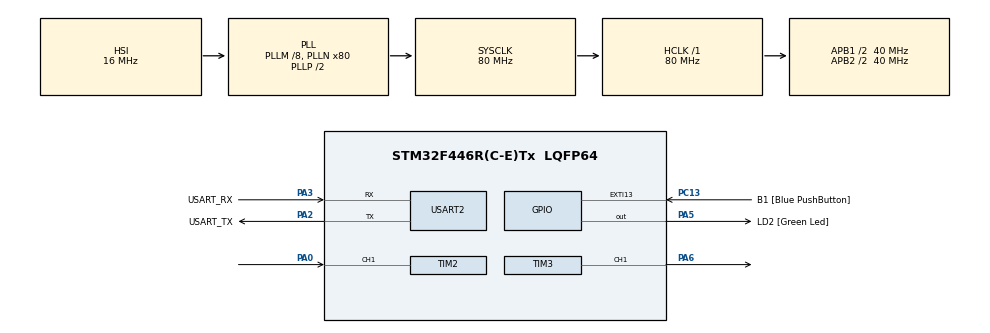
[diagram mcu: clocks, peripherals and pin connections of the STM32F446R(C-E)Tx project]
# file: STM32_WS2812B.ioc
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Dma.Request0=USART2_RX
Dma.Request1=USART2_TX
Dma.Request2=TIM3_CH1/TRIG
Dma.TIM3_CH1/TRIG.2.Direction=DMA_MEMORY_TO_PERIPH
Dma.TIM3_CH1/TRIG.2.FIFOMode=DMA_FIFOMODE_DISABLE
Dma.TIM3_CH1/TRIG.2.Instance=DMA1_Stream4
Dma.TIM3_CH1/TRIG.2.MemDataAlignment=DMA_MDATAALIGN_HALFWORD
Dma.TIM3_CH1/TRIG.2.MemInc=DMA_MINC_ENABLE
Dma.TIM3_CH1/TRIG.2.Mode=DMA_NORMAL
Dma.TIM3_CH1/TRIG.2.PeriphDataAlignment=DMA_PDATAALIGN_HALFWORD
Dma.TIM3_CH1/TRIG.2.PeriphInc=DMA_PINC_DISABLE
Dma.TIM3_CH1/TRIG.2.Priority=DMA_PRIORITY_LOW
Dma.USART2_RX.0.Direction=DMA_PERIPH_TO_MEMORY
Dma.USART2_RX.0.FIFOMode=DMA_FIFOMODE_DISABLE
Dma.USART2_RX.0.Instance=DMA1_Stream5
Dma.USART2_RX.0.MemDataAlignment=DMA_MDATAALIGN_BYTE
Dma.USART2_RX.0.MemInc=DMA_MINC_ENABLE
Dma.USART2_RX.0.Mode=DMA_NORMAL
Dma.USART2_RX.0.PeriphDataAlignment=DMA_PDATAALIGN_BYTE
Dma.USART2_RX.0.PeriphInc=DMA_PINC_DISABLE
Dma.USART2_RX.0.Priority=DMA_PRIORITY_LOW
Dma.USART2_TX.1.Direction=DMA_MEMORY_TO_PERIPH
Dma.USART2_TX.1.FIFOMode=DMA_FIFOMODE_DISABLE
Dma.USART2_TX.1.Instance=DMA1_Stream6
Dma.USART2_TX.1.MemDataAlignment=DMA_MDATAALIGN_BYTE
Dma.USART2_TX.1.MemInc=DMA_MINC_ENABLE
Dma.USART2_TX.1.Mode=DMA_NORMAL
Dma.USART2_TX.1.PeriphDataAlignment=DMA_PDATAALIGN_BYTE
Dma.USART2_TX.1.PeriphInc=DMA_PINC_DISABLE
Dma.USART2_TX.1.Priority=DMA_PRIORITY_LOW
Mcu.Family=STM32F4
Mcu.Name=STM32F446R(C-E)Tx
Mcu.Package=LQFP64
NVIC.DMA1_Stream4_IRQn=true\:10\:0\:true\:false\:true\:false\:true\:true
NVIC.DMA1_Stream5_IRQn=true\:13\:0\:true\:false\:true\:false\:true\:true
NVIC.DMA1_Stream6_IRQn=true\:13\:0\:true\:false\:true\:false\:true\:true
NVIC.PriorityGroup=NVIC_PRIORITYGROUP_4
NVIC.TIM2_IRQn=true\:3\:0\:true\:false\:true\:true\:true\:true
NVIC.TIM3_IRQn=true\:1\:0\:true\:false\:true\:true\:true\:true
NVIC.TIM7_IRQn=true\:2\:0\:true\:false\:true\:true\:true\:true
PA0-WKUP.Signal=S_TIM2_CH1_ETR
PA13.GPIO_Label=TMS
PA13.Mode=Serial_Wire
PA13.Signal=SYS_JTMS-SWDIO
PA14.GPIO_Label=TCK
PA14.Mode=Serial_Wire
PA14.Signal=SYS_JTCK-SWCLK
PA2.GPIO_Label=USART_TX
PA2.Mode=Asynchronous
PA2.Signal=USART2_TX
PA3.GPIO_Label=USART_RX
PA3.Mode=Asynchronous
PA3.Signal=USART2_RX
PA5.GPIO_Label=LD2 [Green Led]
PA5.GPIO_ModeDefaultOutputPP=GPIO_MODE_OUTPUT_PP
PA5.Signal=GPIO_Output
PA6.Signal=S_TIM3_CH1
PC13.GPIO_Label=B1 [Blue PushButton]
PC13.GPIO_ModeDefaultEXTI=GPIO_MODE_IT_FALLING
PC13.Signal=GPXTI13
ProjectManager.HeapSize=0x200
ProjectManager.StackSize=0x400
ProjectManager.TargetToolchain=Makefile
RCC.48MHZClocksFreq_Value=84000000
RCC.AHBFreq_Value=80000000
RCC.APB1CLKDivider=RCC_HCLK_DIV2
RCC.APB1Freq_Value=40000000
RCC.APB1TimFreq_Value=80000000
RCC.APB2CLKDivider=RCC_HCLK_DIV2
RCC.APB2Freq_Value=40000000
RCC.APB2TimFreq_Value=80000000
RCC.CortexFreq_Value=80000000
RCC.FLatency-AdvancedSettings=FLASH_LATENCY_2
RCC.HCLKFreq_Value=80000000
RCC.HSE_VALUE=8000000
RCC.HSI_VALUE=16000000
RCC.PLLM=8
RCC.PLLN=80
RCC.SYSCLKFreq_VALUE=80000000
RCC.SYSCLKSource=RCC_SYSCLKSOURCE_PLLCLK
RCC.USBFreq_Value=80000000
RCC.VCOOutputFreq_Value=160000000
SH.S_TIM2_CH1_ETR.0=TIM2_CH1,Input_Capture1_from_TI1
SH.S_TIM2_CH1_ETR.1=TIM2_CH1,TriggerSource_TI1ED
SH.S_TIM3_CH1.0=TIM3_CH1,PWM Generation1 CH1
TIM2.Channel-Input_Capture1_from_TI1=TIM_CHANNEL_1
TIM2.ICPolarity_CH1=TIM_INPUTCHANNELPOLARITY_FALLING
TIM2.Period=999999
TIM2.Prescaler=79
TIM3.Channel-PWM\ Generation1\ CH1=TIM_CHANNEL_1
TIM3.OCFastMode_PWM-PWM\ Generation1\ CH1=TIM_OCFAST_ENABLE
TIM3.OCPolarity_1=TIM_OCPOLARITY_HIGH
TIM3.Period=99
TIM3.Prescaler=0
TIM7.Period=49
TIM7.Prescaler=7999
USART2.VirtualMode=VM_ASYNC
VP_TIM2_VS_ClockSourceINT.Mode=Internal
VP_TIM2_VS_ControllerModeReset.Mode=Reset Mode
VP_TIM3_VS_ClockSourceINT.Mode=Internal
VP_TIM7_VS_ClockSourceINT.Mode=Enable_Timer
board=NUCLEO-F446RE

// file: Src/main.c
/* USER CODE BEGIN Header */
/**
  ******************************************************************************
  * @file           : main.c
  * @brief          : Main program body
  ******************************************************************************
  * @attention
  *
  * Copyright (c) 2023 STMicroelectronics.
  * All rights reserved.
  *
  * This software is licensed under terms that can be found in the LICENSE file
  * in the root directory of this software component.
  * If no LICENSE file comes with this software, it is provided AS-IS.
  *
  ******************************************************************************
  */
/* USER CODE END Header */
#include "main.h"
#include "dma.h"
#include "tim.h"
#include "usart.h"
#include "gpio.h"

/* USER CODE BEGIN Includes */
#include "WS2812B.h"
#include "NEC_IR.h"
#include <stdbool.h>
/* USER CODE END Includes */

void SystemClock_Config(void);

/* USER CODE BEGIN 0 */
volatile int val;

void HAL_TIM_PeriodElapsedCallback(TIM_HandleTypeDef *htim) {
    if (htim == &htim7) {
        button_control();
        if(LED.is_ON && LED.mode.pulse) {
            pulse();
        }
        else if(LED.is_ON && LED.mode.dynamic_color_change) {
            dynamic();
        }
        else if(LED.is_ON && LED.mode.snake) {
            snake();
        }
        else if(!LED.is_ON) {

        }
    }
}

void HAL_TIM_IC_CaptureCallback(TIM_HandleTypeDef *htim)
{
    if (htim == &htim2)
    {
        switch (HAL_TIM_GetActiveChannel(&htim2))
        {
            case HAL_TIM_ACTIVE_CHANNEL_1:
                ir_tim_interrupt();
                break;
            default:
                break;
        }
    }
}

/* USER CODE END 0 */

int main(void)
{

  /* MCU Configuration--------------------------------------------------------*/

  /* Reset of all peripherals, Initializes the Flash interface and the Systick. */
  HAL_Init();

  /* Configure the system clock */
  SystemClock_Config();

  /* Initialize all configured peripherals */
  MX_GPIO_Init();
  MX_DMA_Init();
  MX_USART2_UART_Init();
  MX_TIM2_Init();
  MX_TIM3_Init();
  MX_TIM7_Init();
  /* USER CODE BEGIN 2 */
    HAL_TIM_Base_Start_IT(&htim7);
    HAL_TIM_Base_Start(&htim2);
    HAL_TIM_IC_Start_IT(&htim2, TIM_CHANNEL_1);
    ws2812b_init();
    ir_init();
  /* USER CODE END 2 */

  /* Infinite loop */
  while (1) {

  }
}

void SystemClock_Config(void)
{
  RCC_OscInitTypeDef RCC_OscInitStruct = {0};
  RCC_ClkInitTypeDef RCC_ClkInitStruct = {0};

  /** Configure the main internal regulator output voltage
  */
  __HAL_RCC_PWR_CLK_ENABLE();
  __HAL_PWR_VOLTAGESCALING_CONFIG(PWR_REGULATOR_VOLTAGE_SCALE3);

  /** Initializes the RCC Oscillators according to the specified parameters
  * in the RCC_OscInitTypeDef structure.
  */
  RCC_OscInitStruct.OscillatorType = RCC_OSCILLATORTYPE_HSI;
  RCC_OscInitStruct.HSIState = RCC_HSI_ON;
  RCC_OscInitStruct.HSICalibrationValue = RCC_HSICALIBRATION_DEFAULT;
  RCC_OscInitStruct.PLL.PLLState = RCC_PLL_ON;
  RCC_OscInitStruct.PLL.PLLSource = RCC_PLLSOURCE_HSI;
  RCC_OscInitStruct.PLL.PLLM = 8;
  RCC_OscInitStruct.PLL.PLLN = 80;
  RCC_OscInitStruct.PLL.PLLP = RCC_PLLP_DIV2;
  RCC_OscInitStruct.PLL.PLLQ = 2;
  RCC_OscInitStruct.PLL.PLLR = 2;
  if (HAL_RCC_OscConfig(&RCC_OscInitStruct) != HAL_OK)
  {
    Error_Handler();
  }

  /** Initializes the CPU, AHB and APB buses clocks
  */
  RCC_ClkInitStruct.ClockType = RCC_CLOCKTYPE_HCLK|RCC_CLOCKTYPE_SYSCLK
                              |RCC_CLOCKTYPE_PCLK1|RCC_CLOCKTYPE_PCLK2;
  RCC_ClkInitStruct.SYSCLKSource = RCC_SYSCLKSOURCE_PLLCLK;
  RCC_ClkInitStruct.AHBCLKDivider = RCC_SYSCLK_DIV1;
  RCC_ClkInitStruct.APB1CLKDivider = RCC_HCLK_DIV2;
  RCC_ClkInitStruct.APB2CLKDivider = RCC_HCLK_DIV2;

  if (HAL_RCC_ClockConfig(&RCC_ClkInitStruct, FLASH_LATENCY_2) != HAL_OK)
  {
    Error_Handler();
  }
}

void Error_Handler(void)
{
  __disable_irq();
  while (1)
  {
  }
}
